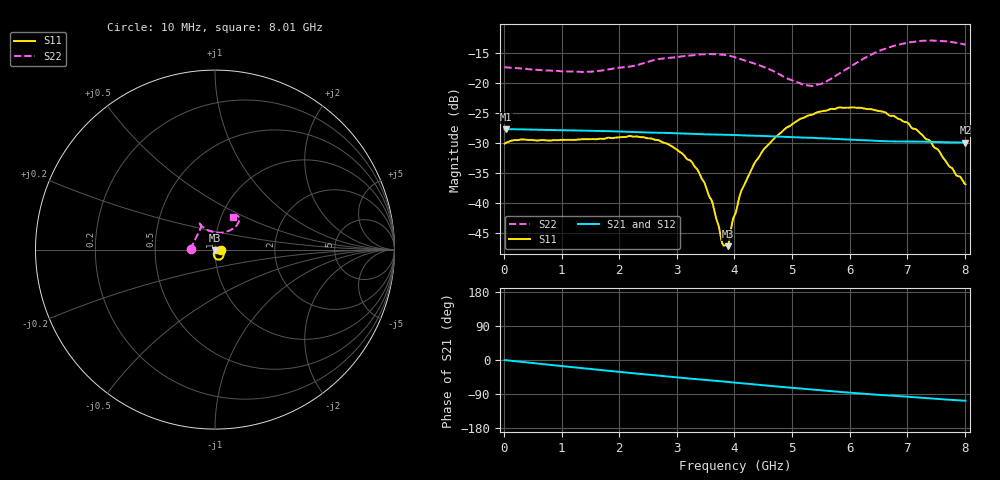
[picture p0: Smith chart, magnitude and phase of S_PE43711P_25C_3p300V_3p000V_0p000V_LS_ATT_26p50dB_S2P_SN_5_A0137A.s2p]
! Device ID: PE43711P
! File Path: z:\PE43711P\CHAR_NOM_04282014\AMB\3p300\LS_ATT_26p50dB\PE43711P_AMB_3p300V_3p000V_0p000V_LS_ATT_26p50dB_S2P_SN_5_A0137A.s2p
! Serial: 5
! Lot: A0137A
! Temp: 25C
! VDD: 3.300
! VSS: 0.000
! Control_Hi: 3.000
! Control_Lo: 0.000
! Attenuation Step: 26.50dB
! Port 1: RF1
! Port 2: RF2
! ThroughPath:1-2
! IDD: 0.0001274328
! ISS: -1.868e-007
#  Hz  S  RI  R  50
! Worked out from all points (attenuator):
!   801 points, 10 MHz to 8.01 GHz, reference 50 ohm
!   highest |S21| = -27.72 dB at 40 MHz (marker M1); lowest = -30.0 dB at 8.01 GHz (marker M2)
!   lowest |S11| = -47.3 dB at 3.88 GHz (marker M3), VSWR 1.01, Z = 50.2 - j0.399 ohm
!   |S11| at or under -10 dB: start of sweep to end of sweep
!   |S22| runs from -20.5 to -12.9 dB; largest |S21 - S12| = 0.00013
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1e7  0.0311 0.000439  0.0411 -0.000132  0.0412 -0.000178  -0.1356 0.000967
4e7  0.0318 0.000737  0.0411 -0.000498  0.0411 -0.000509  -0.1349 0.00275
1.35e9  0.0338 -0.00118  0.0372 -0.0146  0.0373 -0.0146  -0.1079 0.0605
2.19e9  0.036 0.00114  0.0323 -0.0219  0.0323 -0.0219  -0.0842 0.1081
2.68e9  0.0329 0.00445  0.0289 -0.0252  0.0289 -0.0252  -0.0795 0.1367
3.06e9  0.0257 0.00571  0.026 -0.0276  0.026 -0.0276  -0.0789 0.1464
3.35e9  0.0185 0.00472  0.0237 -0.0289  0.0237 -0.0289  -0.0801 0.1519
3.61e9  0.0102 0.00124  0.0218 -0.03  0.0218 -0.03  -0.0833 0.1527
3.79e9  0.00407 -0.00205  0.0204 -0.0309  0.0204 -0.0309  -0.0851 0.15
3.88e9  0.00171 -0.00397  0.0196 -0.0313  0.0196 -0.0313  -0.0848 0.147
4.01e9  -0.0014 -0.00783  0.0185 -0.0317  0.0185 -0.0317  -0.0835 0.1413
4.15e9  -0.00402 -0.0128  0.0172 -0.0321  0.0173 -0.0322  -0.0783 0.1348
4.34e9  -0.00704 -0.0198  0.0157 -0.0327  0.0157 -0.0327  -0.0698 0.1277
4.51e9  -0.00746 -0.0269  0.0143 -0.0331  0.0143 -0.0331  -0.0609 0.1217
4.9e9  -0.00292 -0.0421  0.011 -0.0336  0.0109 -0.0337  -0.0334 0.1049
5.35e9  0.0102 -0.0533  0.00734 -0.034  0.00738 -0.034  0.011 0.0938
5.56e9  0.0188 -0.0554  0.00564 -0.034  0.00564 -0.034  0.0356 0.0942
6.05e9  0.0378 -0.0499  0.00191 -0.0335  0.00186 -0.0335  0.0883 0.1093
6.68e9  0.0473 -0.0256  -0.00202 -0.0325  -0.00199 -0.0325  0.1298 0.1496
7e9  0.0447 -0.0141  -0.00385 -0.0322  -0.00381 -0.0322  0.1353 0.1687
7.39e9  0.033 -0.00282  -0.0063 -0.0316  -0.00622 -0.0316  0.1272 0.1874
8.01e9  0.0142 -0.00145  -0.00956 -0.0303  -0.00966 -0.0303  0.1006 0.1834
